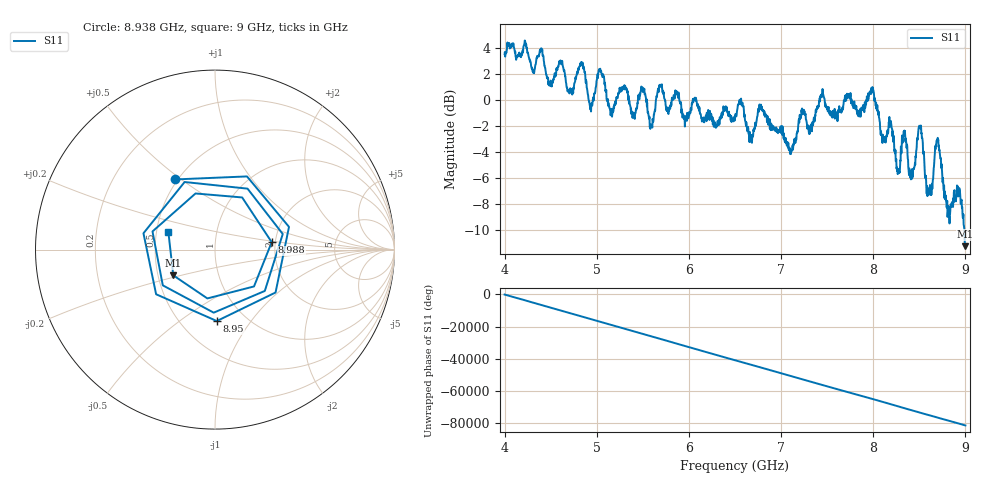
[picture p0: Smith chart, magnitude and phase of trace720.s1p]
! Created with skrf 1.8.0 (http://scikit-rf.org).
# Hz S RI R 50.0
!freq ReS11 ImS11
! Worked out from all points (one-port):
!   1601 points, 4 GHz to 9 GHz, reference 50 ohm
!   lowest |S11| = -11.3 dB at 8.997 GHz (marker M1), VSWR 1.75, Z = 30.1 - j9.31 ohm
!   |S11| at or under -10 dB: 8.988363 GHz to end of sweep
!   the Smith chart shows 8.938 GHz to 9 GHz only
!   S11 on the Smith chart (normalised r, x): 8.938 GHz: 0.48, +0.47; 8.95 GHz: 0.74, -0.70; 8.988 GHz: 1.91, +0.18; 9 GHz: 0.58, +0.12
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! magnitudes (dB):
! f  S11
! 4 GHz  3.6
! 4.625 GHz  3.0
! 4.719 GHz  0.7
! 4.844 GHz  2.8
! 4.934 GHz  -0.5
! 5.034 GHz  2.3
! 5.156 GHz  -0.7
! 5.25 GHz  0.9
! 5.503 GHz  0.9
! 5.591 GHz  -2.1
! 5.684 GHz  1.1
! 5.875 GHz  0.5
! 6.5 GHz  -1.4
! 7.125 GHz  -3.5
! 7.438 GHz  0.4
! 7.75 GHz  0.3
! 7.984 GHz  0.8
! 8.269 GHz  -5.6
! 8.375 GHz  -4.5
! 8.509 GHz  -2.2
! 8.6 GHz  -7.3
! 8.697 GHz  -3.1
! 8.812 GHz  -8.5
! 8.938 GHz  -6.9
! 8.95 GHz  -8.0
! 8.988 GHz  -9.9
! 8.997 GHz  -11.3
! 9 GHz  -11.2
